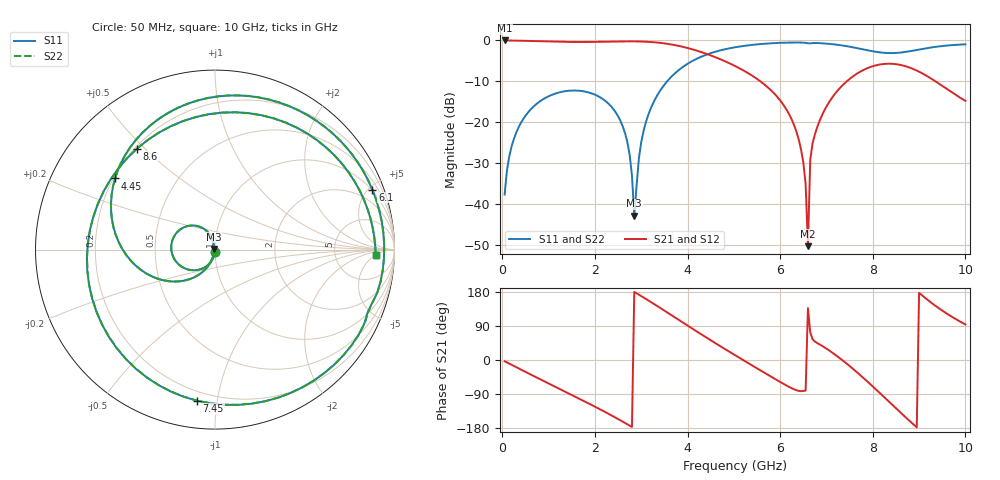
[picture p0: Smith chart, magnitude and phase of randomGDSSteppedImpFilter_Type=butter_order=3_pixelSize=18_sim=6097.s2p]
! freq	dB(S11)	phase(S11)	dB(S12)	phase(S12)
!  dB(S21)	phase(S21)	dB(S22)	phase(S22)
!S-par simulation data
#  GHz  S  DB  R 50
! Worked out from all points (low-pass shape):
!   200 points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, 50 MHz to 10 GHz, reference 50 ohm
!   highest |S21| = -0.01 dB at 50 MHz (marker M1); lowest = -50.2 dB at 6.6 GHz (marker M2)
!   |S21| within 3 dB of the highest: start of sweep to 4.339 GHz
!   lowest |S11| = -42.8 dB at 2.85 GHz (marker M3), VSWR 1.01, Z = 49.3 + j0.281 ohm
!   |S11| at or under -10 dB: start of sweep to 3.56 GHz
!   |S22| runs from -42.2 to -0.5 dB; largest |S21 - S12| = 0
!   S11 on the Smith chart (normalised r, x): 50 MHz: 1.00, -0.03; 4.45 GHz: 0.21, +0.31; 6.1 GHz: 0.94, +5.26; 7.45 GHz: 0.15, -0.88; 8.6 GHz: 0.21, +0.47; 10 GHz: 16, -5
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0.05  -37.66 -91.4  -0.01 -3.2  -0.01 -3.2  -37.66 -91.4
0.2  -25.93 -102.6  -0.03 -12.6  -0.03 -12.6  -25.93 -102.5
0.5  -18.41 -121.8  -0.11 -31.3  -0.11 -31.3  -18.41 -121.8
1.75  -12.42 162.0  -0.39 -107.6  -0.39 -107.6  -12.42 162.1
2.6  -20.95 108.9  -0.24 -162.6  -0.24 -162.6  -20.95 109.4
2.75  -27.90 102.1  -0.23 -173.1  -0.23 -173.1  -27.88 103.3
2.85  -42.81 156.8  -0.24 179.7  -0.24 179.7  -42.16 157.7
3  -24.88 -107.2  -0.27 168.7  -0.27 168.7  -24.87 -108.0
3.4  -12.42 -134.1  -0.58 138.2  -0.58 138.2  -12.42 -134.2
4.45  -3.31 144.5  -3.45 55.9  -3.45 55.9  -3.30 144.7
5.05  -1.63 99.5  -6.38 10.9  -6.38 10.9  -1.62 99.7
6.1  -0.55 20.9  -16.22 -64.8  -16.22 -64.8  -0.55 21.3
6.5  -0.54 -11.0  -29.80 -81.7  -29.80 -81.7  -0.54 -10.6
6.6  -0.69 -19.3  -50.24 136.9  -50.24 136.9  -0.68 -18.8
6.65  -0.73 -22.4  -29.14 72.8  -29.14 72.8  -0.71 -22.1
6.7  -0.64 -26.5  -25.11 55.0  -25.11 55.0  -0.64 -26.1
7.45  -1.43 -96.8  -9.87 -10.9  -9.87 -10.9  -1.43 -96.4
7.95  -2.55 -152.5  -6.48 -64.2  -6.48 -64.2  -2.55 -152.1
8.35  -3.09 158.7  -5.69 -110.1  -5.69 -110.1  -3.09 158.8
8.6  -2.96 127.8  -5.99 -138.9  -5.99 -138.9  -2.97 127.9
9.15  -1.93 66.1  -8.56 162.0  -8.56 162.0  -1.93 66.0
10  -0.96 -2.0  -14.76 93.9  -14.76 93.9  -0.96 -2.0
